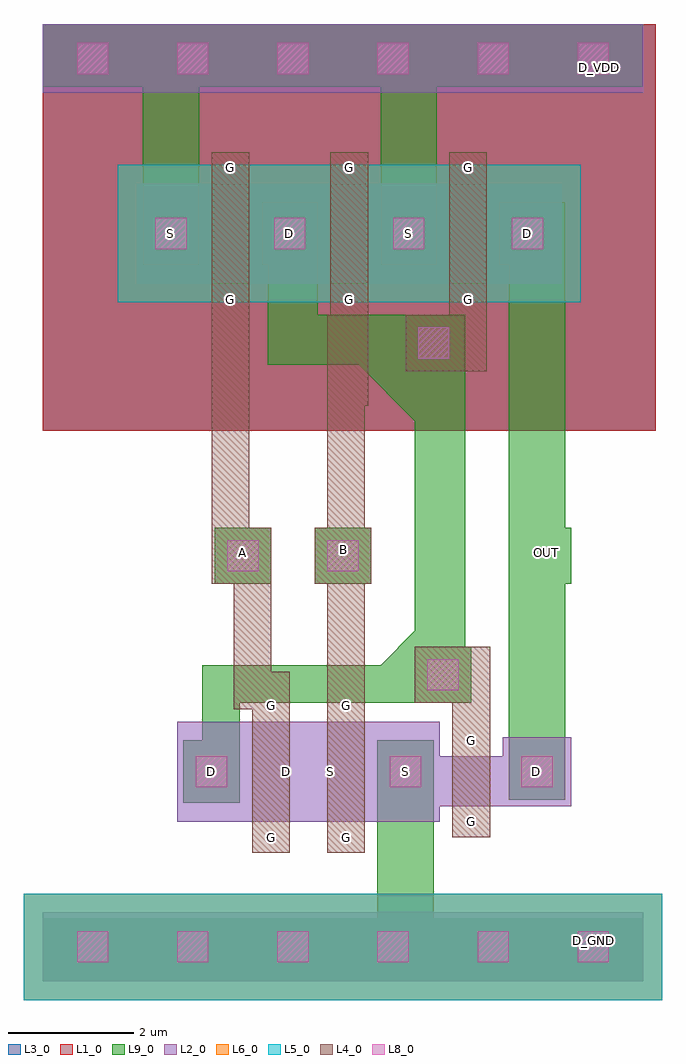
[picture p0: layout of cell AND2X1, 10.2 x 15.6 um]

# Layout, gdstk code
import gdstk
lib = gdstk.Library(unit=1e-6, precision=1e-09)
def R(c, l, rs):  # rectangles x0, y0, x1, y1
    for r in rs: c.add(gdstk.rectangle(r[:2], r[2:], *l))
def A(c, l, x, y, w, h, nx, ny, dx, dy):  # array of equal rectangles
    R(c, l, [(x+i*dx, y+j*dy, x+i*dx+w, y+j*dy+h) for i in range(nx) for j in range(ny)])
def P(c, l, *ps):  # polygons
    for p in ps: c.add(gdstk.Polygon(p, *l))
L1_0 = (1, 0)
L2_0 = (2, 0)
L3_0 = (3, 0)
L4_0 = (4, 0)
L5_0 = (5, 0)
L6_0 = (6, 0)
L8_0 = (8, 0)
L9_0 = (9, 0)

and2x1 = lib.new_cell('AND2X1')
A(and2x1, L1_0, 0, 8.8, 1.6, 6.5, 6, 1, 1.6, 0)
A(and2x1, L1_0, 0, 9.65, 6, 4.6, 3, 1, 1.9, 0)
R(and2x1, L1_0, [(9.6,8.8,9.8,15.3)])
A(and2x1, L2_0, 0, 0, 1.6, 1.1, 6, 2, 1.6, 14.2)
A(and2x1, L2_0, 2.6, 11.15, 0.8, 1.6, 3, 1, 1.9, 0)
R(and2x1, L2_0, [(2.15,2.55,3.25,4.15), (3.25,2.55,4.05,4.15), (3.35,2.55,4.45,4.15), (4.05,2.55,5.15,4.15), (4.45,2.55,5.25,4.15), (5.25,2.55,6.35,4.15), (5.25,2.8,6.35,3.9), (6.35,2.8,7.35,3.6), (7.35,2.8,8.45,3.9), (1.5,11.15,2.6,12.75), (3.4,11.15,4.5,12.75), (3.4,11.15,4.5,12.75), (5.3,11.15,6.4,12.75), (5.3,11.15,6.4,12.75), (7.2,11.15,8.3,12.75)])
A(and2x1, L3_0, 0, 8.8, 1.6, 6.5, 6, 1, 1.6, 0)
A(and2x1, L3_0, 0, 9.65, 6, 4.6, 3, 1, 1.9, 0)
R(and2x1, L3_0, [(9.6,8.8,9.8,15.3)])
A(and2x1, L4_0, 2.7, 10.65, 0.6, 2.6, 3, 1, 1.9, 0)
A(and2x1, L4_0, 2.7, 10.65, 0.6, 0.5, 3, 2, 1.9, 2.1)
R(and2x1, L4_0, [(3.35,2.05,3.95,4.65), (3.35,2.05,3.95,2.55), (4.55,2.05,5.15,4.65), (4.55,2.05,5.15,2.55), (6.55,2.3,7.15,2.8), (6.55,2.3,7.15,4.1), (6.55,3.6,7.15,4.1), (6.55,4.05,7.15,5.35), (3.35,4.15,3.95,4.65), (4.55,4.15,5.15,4.65), (5.95,4.45,6.85,5.35), (2.7,6.35,3.3,10.65), (2.75,6.35,3.65,7.25), (4.35,6.35,5.25,7.25), (5.8,9.75,6.7,10.65), (6.65,9.75,7.1,10.65)])
P(and2x1, L4_0, [(3.05,4.35),(3.95,4.35),(3.95,4.95),(3.65,4.95),(3.65,6.35),(3.05,6.35)],
  [(4.55,4.65),(5.15,4.65),(5.15,9.2),(5.2,9.2),(5.2,10.65),(4.55,10.65)])
A(and2x1, L5_0, 1.2, 10.85, 3.6, 2.2, 3, 1, 1.9, 0)
R(and2x1, L5_0, [(-0.3,-0.3,9.9,1.4)])
A(and2x1, L6_0, 1.6, -0.3, 1.6, 1.7, 4, 1, 1.6, 0)
A(and2x1, L6_0, 1.2, 10.85, 3.6, 2.2, 3, 1, 1.9, 0)
R(and2x1, L6_0, [(-0.3,-0.3,1.6,1.4), (8,-0.3,9.9,1.4)])
A(and2x1, L8_0, 0.55, 0.3, 0.5, 0.5, 6, 2, 1.6, 14.2)
R(and2x1, L8_0, [(2.45,3.1,2.95,3.6), (5.55,3.1,6.05,3.6), (5.55,3.1,6.05,3.6), (7.65,3.1,8.15,3.6), (6.15,4.65,6.65,5.15), (2.95,6.55,3.45,7.05), (4.55,6.55,5.05,7.05), (6,9.95,6.5,10.45), (1.8,11.7,2.3,12.2), (3.7,11.7,4.2,12.2), (3.7,11.7,4.2,12.2), (5.6,11.7,6.1,12.2), (5.6,11.7,6.1,12.2), (7.5,11.7,8,12.2)])
A(and2x1, L9_0, 0, 0, 1.6, 1, 6, 2, 1.6, 14.3)
R(and2x1, L9_0, [(0,0,9.6,1), (5.35,0.65,6.25,3.75), (2.25,2.85,3.15,3.85), (5.35,2.85,6.25,3.85), (5.35,2.9,6.25,3.8), (7.45,2.9,8.35,3.8), (7.45,3.8,8.35,12.45), (5.95,4.45,6.85,5.35), (5.95,5.35,6.75,10.65), (2.75,6.35,3.65,7.25), (2.75,6.35,3.65,7.25), (4.35,6.35,5.25,7.25), (4.35,6.35,5.25,7.25), (7.55,6.35,8.45,7.25), (5.8,9.75,6.7,10.65), (1.6,11.45,2.5,12.45), (3.5,11.45,4.4,12.45), (3.5,11.45,4.4,12.45), (5.4,11.45,6.3,12.45), (5.4,11.45,6.3,12.45), (7.3,11.45,8.2,12.45), (1.6,11.55,2.5,14.65), (5.4,11.55,6.3,14.65), (0,14.3,9.6,15.3)])
P(and2x1, L9_0, [(3.6,9.85),(5.8,9.85),(5.8,10.65),(4.4,10.65),(4.4,11.45),(3.6,11.45)],
  [(2.55,3.25),(3.15,3.25),(3.15,4.45),(6.55,4.45),(6.55,5.05),(2.55,5.05)],
  [(5.05,9.85),(5.95,8.95),(5.95,9.85)],
  [(5.95,5.6),(5.4,5.05),(5.95,5.05)])
and2x1.add(gdstk.Label('G', (3.65,2.302), layer=4, texttype=0))
and2x1.add(gdstk.Label('G', (3.65,4.402), layer=4, texttype=0))
and2x1.add(gdstk.Label('S', (4.601,3.351), layer=2, texttype=0))
and2x1.add(gdstk.Label('D', (2.701,3.351), layer=9, texttype=0))
and2x1.add(gdstk.Label('G', (3,10.902), layer=4, texttype=0))
and2x1.add(gdstk.Label('G', (3,13.002), layer=4, texttype=0))
and2x1.add(gdstk.Label('S', (2.049,11.951), layer=9, texttype=0))
and2x1.add(gdstk.Label('D', (3.949,11.951), layer=9, texttype=0))
and2x1.add(gdstk.Label('G', (6.85,2.552), layer=4, texttype=0))
and2x1.add(gdstk.Label('G', (6.85,3.852), layer=4, texttype=0))
and2x1.add(gdstk.Label('S', (5.799,3.351), layer=9, texttype=0))
and2x1.add(gdstk.Label('D', (7.899,3.351), layer=9, texttype=0))
and2x1.add(gdstk.Label('D', (3.901,3.351), layer=2, texttype=0))
and2x1.add(gdstk.Label('G', (4.85,2.302), layer=4, texttype=0))
and2x1.add(gdstk.Label('G', (4.85,4.402), layer=4, texttype=0))
and2x1.add(gdstk.Label('S', (5.801,3.351), layer=9, texttype=0))
and2x1.add(gdstk.Label('G', (4.9,10.902), layer=4, texttype=0))
and2x1.add(gdstk.Label('G', (4.9,13.002), layer=4, texttype=0))
and2x1.add(gdstk.Label('S', (5.851,11.951), layer=9, texttype=0))
and2x1.add(gdstk.Label('D', (3.951,11.951), layer=9, texttype=0))
and2x1.add(gdstk.Label('G', (6.8,10.902), layer=4, texttype=0))
and2x1.add(gdstk.Label('G', (6.8,13.002), layer=4, texttype=0))
and2x1.add(gdstk.Label('S', (5.849,11.951), layer=9, texttype=0))
and2x1.add(gdstk.Label('D', (7.749,11.951), layer=9, texttype=0))
and2x1.add(gdstk.Label('OUT', (8.05,6.85), layer=50, texttype=0))
and2x1.add(gdstk.Label('A', (3.2,6.85), layer=50, texttype=0))
and2x1.add(gdstk.Label('D_VDD', (8.9,14.6), layer=50, texttype=0))
and2x1.add(gdstk.Label('B', (4.8,6.9), layer=50, texttype=0))
and2x1.add(gdstk.Label('D_GND', (8.8,0.65), layer=50, texttype=0))

lib.write_gds('AND2X1.gds')
